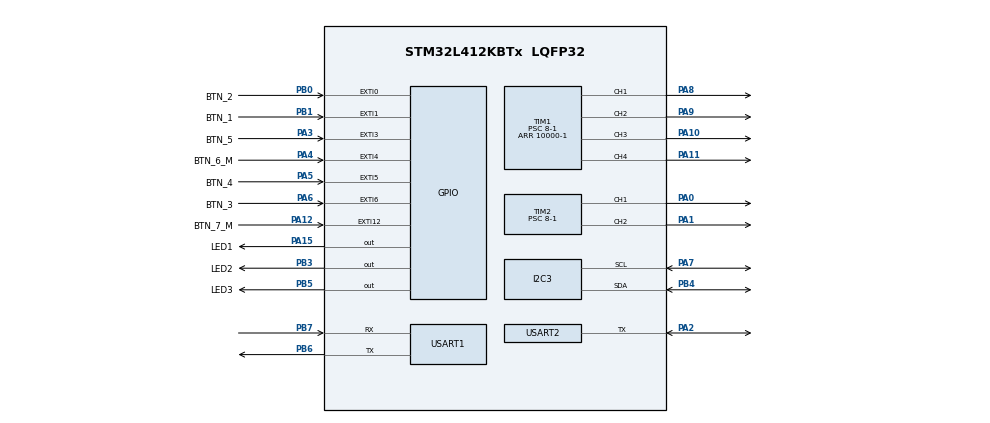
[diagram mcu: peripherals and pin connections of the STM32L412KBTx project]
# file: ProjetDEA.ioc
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Mcu.Family=STM32L4
Mcu.Name=STM32L412KBTx
Mcu.Package=LQFP32
NVIC.PriorityGroup=NVIC_PRIORITYGROUP_4
PA0-CK_IN.Signal=S_TIM2_CH1
PA1.Signal=S_TIM2_CH2
PA10.Signal=S_TIM1_CH3
PA11.Signal=S_TIM1_CH4
PA12.GPIO_Label=BTN_7_M
PA12.GPIO_PuPd=GPIO_NOPULL
PA12.Signal=GPXTI12
PA13\ (JTMS/SWDIO).Mode=Serial_Wire
PA13\ (JTMS/SWDIO).Signal=SYS_JTMS-SWDIO
PA14\ (JTCK/SWCLK).Mode=Serial_Wire
PA14\ (JTCK/SWCLK).Signal=SYS_JTCK-SWCLK
PA15\ (JTDI).GPIO_Label=LED1
PA15\ (JTDI).Signal=GPIO_Output
PA2.Mode=Half_duplex(single_wire_mode)
PA2.Signal=USART2_TX
PA3.GPIO_Label=BTN_5
PA3.Signal=GPXTI3
PA4.GPIO_Label=BTN_6_M
PA4.Signal=GPXTI4
PA5.GPIO_Label=BTN_4
PA5.Signal=GPXTI5
PA6.GPIO_Label=BTN_3
PA6.Signal=GPXTI6
PA7.Mode=I2C
PA7.Signal=I2C3_SCL
PA8.Signal=S_TIM1_CH1
PA9.Signal=S_TIM1_CH2
PB0.GPIO_Label=BTN_2
PB0.Signal=GPXTI0
PB1.GPIO_Label=BTN_1
PB1.Signal=GPXTI1
PB3\ (JTDO/TRACESWO).GPIO_Label=LED2
PB3\ (JTDO/TRACESWO).Signal=GPIO_Output
PB4\ (NJTRST).Mode=I2C
PB4\ (NJTRST).Signal=I2C3_SDA
PB5.GPIO_Label=LED3
PB5.Signal=GPIO_Output
PB6.Mode=Asynchronous
PB6.Signal=USART1_TX
PB7.Mode=Asynchronous
PB7.Signal=USART1_RX
ProjectManager.HeapSize=0x200
ProjectManager.StackSize=0x400
ProjectManager.TargetToolchain=STM32CubeIDE
RCC.ADCFreq_Value=4000000
RCC.HSE_VALUE=8000000
RCC.HSI48_VALUE=48000000
RCC.HSI_VALUE=16000000
RCC.LSE_VALUE=32768
RCC.MSI_VALUE=4000000
RCC.USBFreq_Value=4000000
RCC.VCOOutputFreq_Value=32000000
SH.S_TIM1_CH1.0=TIM1_CH1,PWM Generation1 CH1
SH.S_TIM1_CH2.0=TIM1_CH2,PWM Generation2 CH2
SH.S_TIM1_CH3.0=TIM1_CH3,PWM Generation3 CH3
SH.S_TIM1_CH4.0=TIM1_CH4,PWM Generation4 CH4
SH.S_TIM2_CH1.0=TIM2_CH1,PWM Generation1 CH1
SH.S_TIM2_CH2.0=TIM2_CH2,PWM Generation2 CH2
TIM1.Channel-PWM\ Generation1\ CH1=TIM_CHANNEL_1
TIM1.Channel-PWM\ Generation2\ CH2=TIM_CHANNEL_2
TIM1.Channel-PWM\ Generation3\ CH3=TIM_CHANNEL_3
TIM1.Channel-PWM\ Generation4\ CH4=TIM_CHANNEL_4
TIM1.Period=10000-1
TIM1.Prescaler=8-1
TIM2.Channel-PWM\ Generation1\ CH1=TIM_CHANNEL_1
TIM2.Channel-PWM\ Generation2\ CH2=TIM_CHANNEL_2
TIM2.Period=10000-1
TIM2.Prescaler=8-1
USART1.VirtualMode-Asynchronous=VM_ASYNC
USART2.BaudRate=57600
USART2.VirtualMode-Half_duplex(single_wire_mode)=VM_ASYNC
VP_TIM1_VS_ClockSourceINT.Mode=Internal
VP_TIM2_VS_ClockSourceINT.Mode=Internal
board=custom

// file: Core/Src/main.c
/* USER CODE BEGIN Header */
/**
  ******************************************************************************
  * @file           : main.c
  * @brief          : Main program body
  ******************************************************************************
  * @attention
  *
  * Copyright (c) 2024 STMicroelectronics.
  * All rights reserved.
  *
  * This software is licensed under terms that can be found in the LICENSE file
  * in the root directory of this software component.
  * If no LICENSE file comes with this software, it is provided AS-IS.
  *
  ******************************************************************************
  */
/* USER CODE END Header */
#include "main.h"
#include <stdio.h>
#include <stm32l4xx_hal.h>
#include "servo.h"

I2C_HandleTypeDef hi2c3;

TIM_HandleTypeDef htim1;
TIM_HandleTypeDef htim2;

UART_HandleTypeDef huart1;
UART_HandleTypeDef huart2;

void SystemClock_Config(void);
static void MX_GPIO_Init(void);
static void MX_TIM1_Init(void);
static void MX_USART1_UART_Init(void);
static void MX_USART2_UART_Init(void);
static void MX_I2C3_Init(void);
static void MX_TIM2_Init(void);

/* USER CODE BEGIN 0 */
#ifdef __GNUC__
#define PUTCHAR_PROTOTYPE int __io_putchar(int ch)
#define GETCHAR_PROTOTYPE int __io_getchar(void)
#else
#define PUTCHAR_PROTOTYPE int fputc(int ch, FILE *f)
#define GETCHAR_PROTOTYPE int fgetc(FILE *f)
#endif

PUTCHAR_PROTOTYPE
{
  HAL_UART_Transmit(&huart2, (uint8_t *)&ch, 1, HAL_MAX_DELAY);
  return ch;
}

GETCHAR_PROTOTYPE
{
  uint8_t ch = 0;

  /* Clear the Overrun flag just before receiving the first character */
  __HAL_UART_CLEAR_OREFLAG(&huart2);

  /* Wait for reception of a character on the USART RX line and echo this
   * character on console */
  HAL_UART_Receive(&huart2, (uint8_t *)&ch, 1, HAL_MAX_DELAY);
  HAL_UART_Transmit(&huart2, (uint8_t *)&ch, 1, HAL_MAX_DELAY);
  return ch;
}
/* USER CODE END 0 */

int main(void)
{

  /* MCU Configuration--------------------------------------------------------*/

  /* Reset of all peripherals, Initializes the Flash interface and the Systick. */
  HAL_Init();

  /* Configure the system clock */
  SystemClock_Config();

  /* Initialize all configured peripherals */
  MX_GPIO_Init();
  MX_TIM1_Init();
  MX_USART1_UART_Init();
  MX_USART2_UART_Init();
  MX_I2C3_Init();
  MX_TIM2_Init();
  /* USER CODE BEGIN 2 */

  HAL_TIM_PWM_Start(&htim1, TIM_CHANNEL_1);
  HAL_TIM_PWM_Start(&htim1, TIM_CHANNEL_2);
  HAL_TIM_PWM_Start(&htim1, TIM_CHANNEL_3);
  HAL_TIM_PWM_Start(&htim1, TIM_CHANNEL_4);
  HAL_TIM_PWM_Start(&htim2, TIM_CHANNEL_1);
  HAL_TIM_PWM_Start(&htim2, TIM_CHANNEL_2);

  /*__XL430_HandleTypeDef XL430_1;

  XL430_Init(&XL430_1, &huart2, 1, 1);
  XL430_Init_debug(&XL430_1, &huart2, &huart1, 1, 1);
  XL430_Ping(&XL430_1);
  XL430_Write_Data(&XL430_1,XL430_REG_TORQUE_ENABLE,0);
  XL430_Set_Operating_Mode(&XL430_1,XL430_VELOCITY_CONTROL_MODE);
  XL430_Set_Speed(&XL430_1,200);
  XL430_Write_Data(&XL430_1,XL430_REG_TORQUE_ENABLE,1);*/

  __Servo_HandleTypeDef Servo_1;
  __Servo_HandleTypeDef Servo_2;
  __Servo_HandleTypeDef Servo_3;

  /* USER CODE END 2 */

  servoInit(&Servo_1, GPIOB, BTN_1_Pin, &htim1, TIM_CHANNEL_4);
  servoInit(&Servo_2, GPIOB, BTN_2_Pin, &htim1, TIM_CHANNEL_3);
  servoInit(&Servo_3, GPIOA, BTN_3_Pin, &htim1, TIM_CHANNEL_2);

  /* Infinite loop */
  /* USER CODE BEGIN WHILE */
  while (1)
  {
	  if(btnPressed() != 0){
		  int a = btnPressed();
		  switch(a){
		  	  case 1:
		  		  turnServo(&Servo_1);
		  		  break;
		  	  case 2:
		  		  turnServo(&Servo_2);
		  		  break;
		  	  case 3:
		  		  turnServo(&Servo_3);
		  		  break;
		  	  default:
		  }
	  }

    /* USER CODE END WHILE */

  }
}

void SystemClock_Config(void)
{
  RCC_OscInitTypeDef RCC_OscInitStruct = {0};
  RCC_ClkInitTypeDef RCC_ClkInitStruct = {0};

  /** Configure the main internal regulator output voltage
  */
  if (HAL_PWREx_ControlVoltageScaling(PWR_REGULATOR_VOLTAGE_SCALE1) != HAL_OK)
  {
    Error_Handler();
  }

  /** Initializes the RCC Oscillators according to the specified parameters
  * in the RCC_OscInitTypeDef structure.
  */
  RCC_OscInitStruct.OscillatorType = RCC_OSCILLATORTYPE_MSI;
  RCC_OscInitStruct.MSIState = RCC_MSI_ON;
  RCC_OscInitStruct.MSICalibrationValue = 0;
  RCC_OscInitStruct.MSIClockRange = RCC_MSIRANGE_6;
  RCC_OscInitStruct.PLL.PLLState = RCC_PLL_NONE;
  if (HAL_RCC_OscConfig(&RCC_OscInitStruct) != HAL_OK)
  {
    Error_Handler();
  }

  /** Initializes the CPU, AHB and APB buses clocks
  */
  RCC_ClkInitStruct.ClockType = RCC_CLOCKTYPE_HCLK|RCC_CLOCKTYPE_SYSCLK
                              |RCC_CLOCKTYPE_PCLK1|RCC_CLOCKTYPE_PCLK2;
  RCC_ClkInitStruct.SYSCLKSource = RCC_SYSCLKSOURCE_MSI;
  RCC_ClkInitStruct.AHBCLKDivider = RCC_SYSCLK_DIV1;
  RCC_ClkInitStruct.APB1CLKDivider = RCC_HCLK_DIV1;
  RCC_ClkInitStruct.APB2CLKDivider = RCC_HCLK_DIV1;

  if (HAL_RCC_ClockConfig(&RCC_ClkInitStruct, FLASH_LATENCY_0) != HAL_OK)
  {
    Error_Handler();
  }
}

static void MX_I2C3_Init(void)
{

  hi2c3.Instance = I2C3;
  hi2c3.Init.Timing = 0x00000E14;
  hi2c3.Init.OwnAddress1 = 0;
  hi2c3.Init.AddressingMode = I2C_ADDRESSINGMODE_7BIT;
  hi2c3.Init.DualAddressMode = I2C_DUALADDRESS_DISABLE;
  hi2c3.Init.OwnAddress2 = 0;
  hi2c3.Init.OwnAddress2Masks = I2C_OA2_NOMASK;
  hi2c3.Init.GeneralCallMode = I2C_GENERALCALL_DISABLE;
  hi2c3.Init.NoStretchMode = I2C_NOSTRETCH_DISABLE;
  if (HAL_I2C_Init(&hi2c3) != HAL_OK)
  {
    Error_Handler();
  }

  /** Configure Analogue filter
  */
  if (HAL_I2CEx_ConfigAnalogFilter(&hi2c3, I2C_ANALOGFILTER_ENABLE) != HAL_OK)
  {
    Error_Handler();
  }

  /** Configure Digital filter
  */
  if (HAL_I2CEx_ConfigDigitalFilter(&hi2c3, 0) != HAL_OK)
  {
    Error_Handler();
  }

}

static void MX_TIM1_Init(void)
{

  TIM_ClockConfigTypeDef sClockSourceConfig = {0};
  TIM_MasterConfigTypeDef sMasterConfig = {0};
  TIM_OC_InitTypeDef sConfigOC = {0};
  TIM_BreakDeadTimeConfigTypeDef sBreakDeadTimeConfig = {0};

  htim1.Instance = TIM1;
  htim1.Init.Prescaler = 8-1;
  htim1.Init.CounterMode = TIM_COUNTERMODE_UP;
  htim1.Init.Period = 10000-1;
  htim1.Init.ClockDivision = TIM_CLOCKDIVISION_DIV1;
  htim1.Init.RepetitionCounter = 0;
  htim1.Init.AutoReloadPreload = TIM_AUTORELOAD_PRELOAD_DISABLE;
  if (HAL_TIM_Base_Init(&htim1) != HAL_OK)
  {
    Error_Handler();
  }
  sClockSourceConfig.ClockSource = TIM_CLOCKSOURCE_INTERNAL;
  if (HAL_TIM_ConfigClockSource(&htim1, &sClockSourceConfig) != HAL_OK)
  {
    Error_Handler();
  }
  if (HAL_TIM_PWM_Init(&htim1) != HAL_OK)
  {
    Error_Handler();
  }
  sMasterConfig.MasterOutputTrigger = TIM_TRGO_RESET;
  sMasterConfig.MasterOutputTrigger2 = TIM_TRGO2_RESET;
  sMasterConfig.MasterSlaveMode = TIM_MASTERSLAVEMODE_DISABLE;
  if (HAL_TIMEx_MasterConfigSynchronization(&htim1, &sMasterConfig) != HAL_OK)
  {
    Error_Handler();
  }
  sConfigOC.OCMode = TIM_OCMODE_PWM1;
  sConfigOC.Pulse = 0;
  sConfigOC.OCPolarity = TIM_OCPOLARITY_HIGH;
  sConfigOC.OCNPolarity = TIM_OCNPOLARITY_HIGH;
  sConfigOC.OCFastMode = TIM_OCFAST_DISABLE;
  sConfigOC.OCIdleState = TIM_OCIDLESTATE_RESET;
  sConfigOC.OCNIdleState = TIM_OCNIDLESTATE_RESET;
  if (HAL_TIM_PWM_ConfigChannel(&htim1, &sConfigOC, TIM_CHANNEL_1) != HAL_OK)
  {
    Error_Handler();
  }
  if (HAL_TIM_PWM_ConfigChannel(&htim1, &sConfigOC, TIM_CHANNEL_2) != HAL_OK)
  {
    Error_Handler();
  }
  if (HAL_TIM_PWM_ConfigChannel(&htim1, &sConfigOC, TIM_CHANNEL_3) != HAL_OK)
  {
    Error_Handler();
  }
  if (HAL_TIM_PWM_ConfigChannel(&htim1, &sConfigOC, TIM_CHANNEL_4) != HAL_OK)
  {
    Error_Handler();
  }
  sBreakDeadTimeConfig.OffStateRunMode = TIM_OSSR_DISABLE;
  sBreakDeadTimeConfig.OffStateIDLEMode = TIM_OSSI_DISABLE;
  sBreakDeadTimeConfig.LockLevel = TIM_LOCKLEVEL_OFF;
  sBreakDeadTimeConfig.DeadTime = 0;
  sBreakDeadTimeConfig.BreakState = TIM_BREAK_DISABLE;
  sBreakDeadTimeConfig.BreakPolarity = TIM_BREAKPOLARITY_HIGH;
  sBreakDeadTimeConfig.BreakFilter = 0;
  sBreakDeadTimeConfig.Break2State = TIM_BREAK2_DISABLE;
  sBreakDeadTimeConfig.Break2Polarity = TIM_BREAK2POLARITY_HIGH;
  sBreakDeadTimeConfig.Break2Filter = 0;
  sBreakDeadTimeConfig.AutomaticOutput = TIM_AUTOMATICOUTPUT_DISABLE;
  if (HAL_TIMEx_ConfigBreakDeadTime(&htim1, &sBreakDeadTimeConfig) != HAL_OK)
  {
    Error_Handler();
  }
  HAL_TIM_MspPostInit(&htim1);

}

static void MX_TIM2_Init(void)
{

  TIM_ClockConfigTypeDef sClockSourceConfig = {0};
  TIM_MasterConfigTypeDef sMasterConfig = {0};
  TIM_OC_InitTypeDef sConfigOC = {0};

  htim2.Instance = TIM2;
  htim2.Init.Prescaler = 8-1;
  htim2.Init.CounterMode = TIM_COUNTERMODE_UP;
  htim2.Init.Period = 10000-1;
  htim2.Init.ClockDivision = TIM_CLOCKDIVISION_DIV1;
  htim2.Init.AutoReloadPreload = TIM_AUTORELOAD_PRELOAD_DISABLE;
  if (HAL_TIM_Base_Init(&htim2) != HAL_OK)
  {
    Error_Handler();
  }
  sClockSourceConfig.ClockSource = TIM_CLOCKSOURCE_INTERNAL;
  if (HAL_TIM_ConfigClockSource(&htim2, &sClockSourceConfig) != HAL_OK)
  {
    Error_Handler();
  }
  if (HAL_TIM_PWM_Init(&htim2) != HAL_OK)
  {
    Error_Handler();
  }
  sMasterConfig.MasterOutputTrigger = TIM_TRGO_RESET;
  sMasterConfig.MasterSlaveMode = TIM_MASTERSLAVEMODE_DISABLE;
  if (HAL_TIMEx_MasterConfigSynchronization(&htim2, &sMasterConfig) != HAL_OK)
  {
    Error_Handler();
  }
  sConfigOC.OCMode = TIM_OCMODE_PWM1;
  sConfigOC.Pulse = 0;
  sConfigOC.OCPolarity = TIM_OCPOLARITY_HIGH;
  sConfigOC.OCFastMode = TIM_OCFAST_DISABLE;
  if (HAL_TIM_PWM_ConfigChannel(&htim2, &sConfigOC, TIM_CHANNEL_1) != HAL_OK)
  {
    Error_Handler();
  }
  if (HAL_TIM_PWM_ConfigChannel(&htim2, &sConfigOC, TIM_CHANNEL_2) != HAL_OK)
  {
    Error_Handler();
  }
  HAL_TIM_MspPostInit(&htim2);

}

static void MX_USART1_UART_Init(void)
{

  huart1.Instance = USART1;
  huart1.Init.BaudRate = 115200;
  huart1.Init.WordLength = UART_WORDLENGTH_8B;
  huart1.Init.StopBits = UART_STOPBITS_1;
  huart1.Init.Parity = UART_PARITY_NONE;
  huart1.Init.Mode = UART_MODE_TX_RX;
  huart1.Init.HwFlowCtl = UART_HWCONTROL_NONE;
  huart1.Init.OverSampling = UART_OVERSAMPLING_16;
  huart1.Init.OneBitSampling = UART_ONE_BIT_SAMPLE_DISABLE;
  huart1.AdvancedInit.AdvFeatureInit = UART_ADVFEATURE_NO_INIT;
  if (HAL_UART_Init(&huart1) != HAL_OK)
  {
    Error_Handler();
  }

}

static void MX_USART2_UART_Init(void)
{

  huart2.Instance = USART2;
  huart2.Init.BaudRate = 57600;
  huart2.Init.WordLength = UART_WORDLENGTH_8B;
  huart2.Init.StopBits = UART_STOPBITS_1;
  huart2.Init.Parity = UART_PARITY_NONE;
  huart2.Init.Mode = UART_MODE_TX_RX;
  huart2.Init.HwFlowCtl = UART_HWCONTROL_NONE;
  huart2.Init.OverSampling = UART_OVERSAMPLING_16;
  huart2.Init.OneBitSampling = UART_ONE_BIT_SAMPLE_DISABLE;
  huart2.AdvancedInit.AdvFeatureInit = UART_ADVFEATURE_NO_INIT;
  if (HAL_HalfDuplex_Init(&huart2) != HAL_OK)
  {
    Error_Handler();
  }

}

static void MX_GPIO_Init(void)
{
  GPIO_InitTypeDef GPIO_InitStruct = {0};

  /* GPIO Ports Clock Enable */
  __HAL_RCC_GPIOA_CLK_ENABLE();
  __HAL_RCC_GPIOB_CLK_ENABLE();

  /*Configure GPIO pin Output Level */
  HAL_GPIO_WritePin(LED1_GPIO_Port, LED1_Pin, GPIO_PIN_RESET);

  /*Configure GPIO pin Output Level */
  HAL_GPIO_WritePin(GPIOB, LED2_Pin|LED3_Pin, GPIO_PIN_RESET);

  /*Configure GPIO pins : BTN_5_Pin BTN_6_M_Pin BTN_4_Pin BTN_3_Pin
                           BTN_7_M_Pin */
  GPIO_InitStruct.Pin = BTN_5_Pin|BTN_6_M_Pin|BTN_4_Pin|BTN_3_Pin
                          |BTN_7_M_Pin;
  GPIO_InitStruct.Mode = GPIO_MODE_IT_RISING;
  GPIO_InitStruct.Pull = GPIO_NOPULL;
  HAL_GPIO_Init(GPIOA, &GPIO_InitStruct);

  /*Configure GPIO pins : BTN_2_Pin BTN_1_Pin */
  GPIO_InitStruct.Pin = BTN_2_Pin|BTN_1_Pin;
  GPIO_InitStruct.Mode = GPIO_MODE_IT_RISING;
  GPIO_InitStruct.Pull = GPIO_NOPULL;
  HAL_GPIO_Init(GPIOB, &GPIO_InitStruct);

  /*Configure GPIO pin : LED1_Pin */
  GPIO_InitStruct.Pin = LED1_Pin;
  GPIO_InitStruct.Mode = GPIO_MODE_OUTPUT_PP;
  GPIO_InitStruct.Pull = GPIO_NOPULL;
  GPIO_InitStruct.Speed = GPIO_SPEED_FREQ_LOW;
  HAL_GPIO_Init(LED1_GPIO_Port, &GPIO_InitStruct);

  /*Configure GPIO pins : LED2_Pin LED3_Pin */
  GPIO_InitStruct.Pin = LED2_Pin|LED3_Pin;
  GPIO_InitStruct.Mode = GPIO_MODE_OUTPUT_PP;
  GPIO_InitStruct.Pull = GPIO_NOPULL;
  GPIO_InitStruct.Speed = GPIO_SPEED_FREQ_LOW;
  HAL_GPIO_Init(GPIOB, &GPIO_InitStruct);

}

void Error_Handler(void)
{
  __disable_irq();
  while (1)
  {
  }
}
